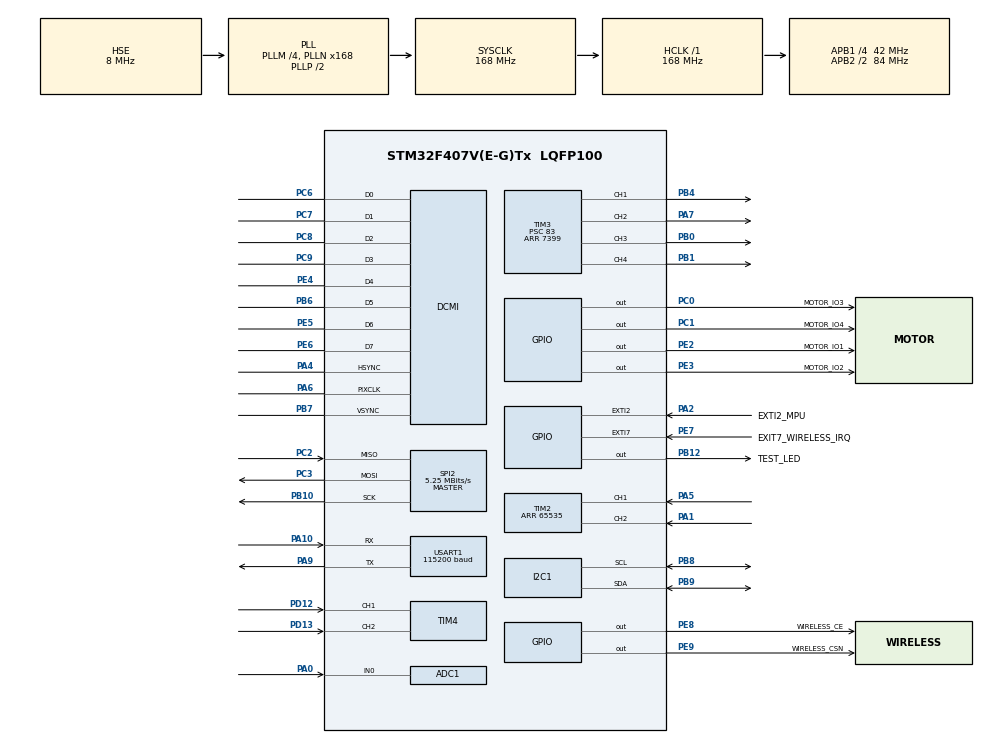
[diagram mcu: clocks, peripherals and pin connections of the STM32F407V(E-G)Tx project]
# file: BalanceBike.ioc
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ADC1.Channel-3\#ChannelRegularConversion=ADC_CHANNEL_0
ADC1.NbrOfConversionFlag=1
ADC1.Rank-3\#ChannelRegularConversion=1
ADC1.SamplingTime-3\#ChannelRegularConversion=ADC_SAMPLETIME_3CYCLES
ADC1.master=1
FREERTOS.Tasks01=defaultTask,24,128,StartDefaultTask,Default,NULL,Dynamic,NULL,NULL
FREERTOS.configENABLE_FPU=1
I2C1.I2C_Mode=I2C_Fast
Mcu.Family=STM32F4
Mcu.Name=STM32F407V(E-G)Tx
Mcu.Package=LQFP100
NVIC.EXTI2_IRQn=true\:5\:0\:false\:false\:true\:true\:true\:true\:true
NVIC.EXTI9_5_IRQn=true\:5\:0\:false\:false\:true\:true\:true\:true\:true
NVIC.PriorityGroup=NVIC_PRIORITYGROUP_4
NVIC.TIM1_UP_TIM10_IRQn=true\:15\:0\:false\:false\:true\:false\:false\:true\:true
NVIC.TIM2_IRQn=true\:5\:0\:false\:false\:true\:true\:true\:true\:true
NVIC.TIM4_IRQn=true\:5\:0\:false\:false\:true\:true\:true\:true\:true
NVIC.TimeBase=TIM1_UP_TIM10_IRQn
NVIC.TimeBaseIP=TIM1
PA0-WKUP.Signal=ADCx_IN0
PA1.Signal=S_TIM2_CH2
PA10.Mode=Asynchronous
PA10.Signal=USART1_RX
PA13.Mode=Serial_Wire
PA13.Signal=SYS_JTMS-SWDIO
PA14.Mode=Serial_Wire
PA14.Signal=SYS_JTCK-SWCLK
PA2.GPIO_Label=EXTI2_MPU
PA2.GPIO_ModeDefaultEXTI=GPIO_MODE_IT_FALLING
PA2.Signal=GPXTI2
PA4.Mode=Slave_8_bits_External_Synchro
PA4.Signal=DCMI_HSYNC
PA5.Signal=S_TIM2_CH1_ETR
PA6.Mode=Slave_8_bits_External_Synchro
PA6.Signal=DCMI_PIXCLK
PA7.Signal=S_TIM3_CH2
PA9.Mode=Asynchronous
PA9.Signal=USART1_TX
PB0.Signal=S_TIM3_CH3
PB1.Signal=S_TIM3_CH4
PB10.Mode=Full_Duplex_Master
PB10.Signal=SPI2_SCK
PB12.GPIO_Label=TEST_LED
PB12.Signal=GPIO_Output
PB4.Signal=S_TIM3_CH1
PB6.Mode=Slave_8_bits_External_Synchro
PB6.Signal=DCMI_D5
PB7.Mode=Slave_8_bits_External_Synchro
PB7.Signal=DCMI_VSYNC
PB8.Mode=I2C
PB8.Signal=I2C1_SCL
PB9.Mode=I2C
PB9.Signal=I2C1_SDA
PC0.GPIO_Label=MOTOR_IO3
PC0.GPIO_Speed=GPIO_SPEED_FREQ_LOW
PC0.Signal=GPIO_Output
PC1.GPIO_Label=MOTOR_IO4
PC1.GPIO_Speed=GPIO_SPEED_FREQ_LOW
PC1.Signal=GPIO_Output
PC2.Mode=Full_Duplex_Master
PC2.Signal=SPI2_MISO
PC3.Mode=Full_Duplex_Master
PC3.Signal=SPI2_MOSI
PC6.Mode=Slave_8_bits_External_Synchro
PC6.Signal=DCMI_D0
PC7.Mode=Slave_8_bits_External_Synchro
PC7.Signal=DCMI_D1
PC8.Mode=Slave_8_bits_External_Synchro
PC8.Signal=DCMI_D2
PC9.Mode=Slave_8_bits_External_Synchro
PC9.Signal=DCMI_D3
PD12.Signal=S_TIM4_CH1
PD13.Signal=S_TIM4_CH2
PE2.GPIO_Label=MOTOR_IO1
PE2.GPIO_Speed=GPIO_SPEED_FREQ_LOW
PE2.Signal=GPIO_Output
PE3.GPIO_Label=MOTOR_IO2
PE3.GPIO_Speed=GPIO_SPEED_FREQ_LOW
PE3.Signal=GPIO_Output
PE4.Mode=Slave_8_bits_External_Synchro
PE4.Signal=DCMI_D4
PE5.Mode=Slave_8_bits_External_Synchro
PE5.Signal=DCMI_D6
PE6.Mode=Slave_8_bits_External_Synchro
PE6.Signal=DCMI_D7
PE7.GPIO_Label=EXIT7_WIRELESS_IRQ
PE7.GPIO_ModeDefaultEXTI=GPIO_MODE_IT_FALLING
PE7.Signal=GPXTI7
PE8.GPIO_Label=WIRELESS_CE
PE8.GPIO_Speed=GPIO_SPEED_FREQ_HIGH
PE8.Signal=GPIO_Output
PE9.GPIO_Label=WIRELESS_CSN
PE9.GPIO_Speed=GPIO_SPEED_FREQ_HIGH
PE9.PinState=GPIO_PIN_SET
PE9.Signal=GPIO_Output
PH0-OSC_IN.Mode=HSE-External-Oscillator
PH0-OSC_IN.Signal=RCC_OSC_IN
PH1-OSC_OUT.Mode=HSE-External-Oscillator
PH1-OSC_OUT.Signal=RCC_OSC_OUT
ProjectManager.HeapSize=0x200
ProjectManager.StackSize=0x400
ProjectManager.TargetToolchain=Makefile
RCC.48MHZClocksFreq_Value=84000000
RCC.AHBFreq_Value=168000000
RCC.APB1CLKDivider=RCC_HCLK_DIV4
RCC.APB1Freq_Value=42000000
RCC.APB1TimFreq_Value=84000000
RCC.APB2CLKDivider=RCC_HCLK_DIV2
RCC.APB2Freq_Value=84000000
RCC.APB2TimFreq_Value=168000000
RCC.CortexFreq_Value=168000000
RCC.HCLKFreq_Value=168000000
RCC.HSE_VALUE=8000000
RCC.HSI_VALUE=16000000
RCC.LSE_VALUE=32768
RCC.PLLM=4
RCC.PLLN=168
RCC.PLLSourceVirtual=RCC_PLLSOURCE_HSE
RCC.SYSCLKFreq_VALUE=168000000
RCC.SYSCLKSource=RCC_SYSCLKSOURCE_PLLCLK
RCC.VCOOutputFreq_Value=336000000
SH.ADCx_IN0.0=ADC1_IN0,IN0
SH.S_TIM2_CH1_ETR.0=TIM2_CH1,Encoder_Interface
SH.S_TIM2_CH2.0=TIM2_CH2,Encoder_Interface
SH.S_TIM3_CH1.0=TIM3_CH1,PWM Generation1 CH1
SH.S_TIM3_CH2.0=TIM3_CH2,PWM Generation2 CH2
SH.S_TIM3_CH3.0=TIM3_CH3,PWM Generation3 CH3
SH.S_TIM3_CH4.0=TIM3_CH4,PWM Generation4 CH4
SH.S_TIM4_CH1.0=TIM4_CH1,Encoder_Interface
SH.S_TIM4_CH2.0=TIM4_CH2,Encoder_Interface
SPI2.BaudRatePrescaler=SPI_BAUDRATEPRESCALER_8
SPI2.CalculateBaudRate=5.25 MBits/s
SPI2.Direction=SPI_DIRECTION_2LINES
SPI2.Mode=SPI_MODE_MASTER
SPI2.VirtualType=VM_MASTER
TIM2.EncoderMode=TIM_ENCODERMODE_TI12
TIM2.IC1Filter=6
TIM2.Period=65535
TIM3.AutoReloadPreload=TIM_AUTORELOAD_PRELOAD_ENABLE
TIM3.Channel-PWM\ Generation1\ CH1=TIM_CHANNEL_1
TIM3.Channel-PWM\ Generation2\ CH2=TIM_CHANNEL_2
TIM3.Channel-PWM\ Generation3\ CH3=TIM_CHANNEL_3
TIM3.Channel-PWM\ Generation4\ CH4=TIM_CHANNEL_4
TIM3.Period=7399
TIM3.Prescaler=83
TIM4.EncoderMode=TIM_ENCODERMODE_TI12
TIM4.IC1Filter=6
USART1.BaudRate=115200
USART1.VirtualMode=VM_ASYNC
VP_FREERTOS_VS_CMSIS_V2.Mode=CMSIS_V2
VP_SYS_VS_tim1.Mode=TIM1
board=custom

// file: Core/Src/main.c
/* USER CODE BEGIN Header */
/**
  ******************************************************************************
  * @file           : main.c
  * @brief          : Main program body
  ******************************************************************************
  * @attention
  *
  * Copyright (c) 2025 STMicroelectronics.
  * All rights reserved.
  *
  * This software is licensed under terms that can be found in the LICENSE file
  * in the root directory of this software component.
  * If no LICENSE file comes with this software, it is provided AS-IS.
  *
  ******************************************************************************
  */
/* USER CODE END Header */
#include "main.h"
#include "cmsis_os.h"

/* USER CODE BEGIN Includes */
#include "tasks.h"
#include "nrf24l01p.h"
/* USER CODE END Includes */

ADC_HandleTypeDef hadc1;

DCMI_HandleTypeDef hdcmi;

I2C_HandleTypeDef hi2c1;

SPI_HandleTypeDef hspi2;

TIM_HandleTypeDef htim2;
TIM_HandleTypeDef htim3;
TIM_HandleTypeDef htim4;

UART_HandleTypeDef huart1;

/* Definitions for defaultTask */
osThreadId_t defaultTaskHandle;
const osThreadAttr_t defaultTask_attributes = {
  .name = "defaultTask",
  .stack_size = 128 * 4,
  .priority = (osPriority_t) osPriorityNormal,
};
/* USER CODE BEGIN PV */
osThreadId_t test_led_task_handle;
const osThreadAttr_t test_led_task_attributes = {
  .name = "test_led",
  .stack_size = 128 * 4,
  .priority = (osPriority_t)osPriorityBelowNormal
};

osThreadId_t oled_task_handle;
const osThreadAttr_t oled_task_attributes = {
  .name = "oled",
  .stack_size = 128 * 8,
  .priority = (osPriority_t)osPriorityBelowNormal1
};

osThreadId_t balance_task_handle;
const osThreadAttr_t balance_task_attributes = {
  .name = "balance",
  .stack_size = 128 * 8,
  .priority = (osPriority_t)osPriorityNormal1
};

osThreadId_t control_task_handle;
const osThreadAttr_t control_task_attributes = {
    .name = "control",
    .stack_size = 128 * 16,
    .priority = (osPriority_t)osPriorityNormal
};

osSemaphoreId_t gyro_ready_sem;
osMutexId_t i2c_bus_mutex;
osEventFlagsId_t event;
osMessageQueueId_t command_queue;
/* USER CODE END PV */

void SystemClock_Config(void);
static void MX_GPIO_Init(void);
static void MX_DCMI_Init(void);
static void MX_I2C1_Init(void);
static void MX_SPI2_Init(void);
static void MX_TIM2_Init(void);
static void MX_TIM3_Init(void);
static void MX_TIM4_Init(void);
static void MX_USART1_UART_Init(void);
static void MX_ADC1_Init(void);
void StartDefaultTask(void *argument);

int main(void)
{

  /* MCU Configuration--------------------------------------------------------*/

  /* Reset of all peripherals, Initializes the Flash interface and the Systick. */
  HAL_Init();

  /* Configure the system clock */
  SystemClock_Config();

  /* Initialize all configured peripherals */
  MX_GPIO_Init();
  MX_DCMI_Init();
  MX_I2C1_Init();
  MX_SPI2_Init();
  MX_TIM2_Init();
  MX_TIM3_Init();
  MX_TIM4_Init();
  MX_USART1_UART_Init();
  MX_ADC1_Init();

  /* Init scheduler */
  osKernelInitialize();

  /* USER CODE BEGIN RTOS_MUTEX */
  /* add mutexes, ... */
  i2c_bus_mutex = osMutexNew(NULL);
  /* USER CODE END RTOS_MUTEX */

  /* USER CODE BEGIN RTOS_SEMAPHORES */
  /* add semaphores, ... */
  gyro_ready_sem = osSemaphoreNew(1,0,NULL);
  /* USER CODE END RTOS_SEMAPHORES */

  /* USER CODE BEGIN RTOS_QUEUES */
  /* add queues, ... */
  command_queue = osMessageQueueNew(16,sizeof(NRF24L01P_Fragment),NULL);
  /* USER CODE END RTOS_QUEUES */

  /* Create the thread(s) */
  /* creation of defaultTask */
  defaultTaskHandle = osThreadNew(StartDefaultTask, NULL, &defaultTask_attributes);

  /* USER CODE BEGIN RTOS_THREADS */
  /* add threads, ... */
  test_led_task_handle = osThreadNew(test_led_task,NULL,&test_led_task_attributes);
  oled_task_handle = osThreadNew(oled_task,NULL,&oled_task_attributes);
  balance_task_handle = osThreadNew(balance_task,NULL,&balance_task_attributes);
  control_task_handle = osThreadNew(control_task,NULL,&control_task_attributes);
  /* USER CODE END RTOS_THREADS */

  /* USER CODE BEGIN RTOS_EVENTS */
  /* add events, ... */
  event = osEventFlagsNew(NULL);
  /* USER CODE END RTOS_EVENTS */

  /* Start scheduler */
  osKernelStart();

  /* We should never get here as control is now taken by the scheduler */

  /* Infinite loop */
  while (1)
  {

  }
}

void SystemClock_Config(void)
{
  RCC_OscInitTypeDef RCC_OscInitStruct = {0};
  RCC_ClkInitTypeDef RCC_ClkInitStruct = {0};

  /** Configure the main internal regulator output voltage
  */
  __HAL_RCC_PWR_CLK_ENABLE();
  __HAL_PWR_VOLTAGESCALING_CONFIG(PWR_REGULATOR_VOLTAGE_SCALE1);

  /** Initializes the RCC Oscillators according to the specified parameters
  * in the RCC_OscInitTypeDef structure.
  */
  RCC_OscInitStruct.OscillatorType = RCC_OSCILLATORTYPE_HSE;
  RCC_OscInitStruct.HSEState = RCC_HSE_ON;
  RCC_OscInitStruct.PLL.PLLState = RCC_PLL_ON;
  RCC_OscInitStruct.PLL.PLLSource = RCC_PLLSOURCE_HSE;
  RCC_OscInitStruct.PLL.PLLM = 4;
  RCC_OscInitStruct.PLL.PLLN = 168;
  RCC_OscInitStruct.PLL.PLLP = RCC_PLLP_DIV2;
  RCC_OscInitStruct.PLL.PLLQ = 4;
  if (HAL_RCC_OscConfig(&RCC_OscInitStruct) != HAL_OK)
  {
    Error_Handler();
  }

  /** Initializes the CPU, AHB and APB buses clocks
  */
  RCC_ClkInitStruct.ClockType = RCC_CLOCKTYPE_HCLK|RCC_CLOCKTYPE_SYSCLK
                              |RCC_CLOCKTYPE_PCLK1|RCC_CLOCKTYPE_PCLK2;
  RCC_ClkInitStruct.SYSCLKSource = RCC_SYSCLKSOURCE_PLLCLK;
  RCC_ClkInitStruct.AHBCLKDivider = RCC_SYSCLK_DIV1;
  RCC_ClkInitStruct.APB1CLKDivider = RCC_HCLK_DIV4;
  RCC_ClkInitStruct.APB2CLKDivider = RCC_HCLK_DIV2;

  if (HAL_RCC_ClockConfig(&RCC_ClkInitStruct, FLASH_LATENCY_5) != HAL_OK)
  {
    Error_Handler();
  }
}

static void MX_ADC1_Init(void)
{

  ADC_ChannelConfTypeDef sConfig = {0};

  /** Configure the global features of the ADC (Clock, Resolution, Data Alignment and number of conversion)
  */
  hadc1.Instance = ADC1;
  hadc1.Init.ClockPrescaler = ADC_CLOCK_SYNC_PCLK_DIV4;
  hadc1.Init.Resolution = ADC_RESOLUTION_12B;
  hadc1.Init.ScanConvMode = DISABLE;
  hadc1.Init.ContinuousConvMode = DISABLE;
  hadc1.Init.DiscontinuousConvMode = DISABLE;
  hadc1.Init.ExternalTrigConvEdge = ADC_EXTERNALTRIGCONVEDGE_NONE;
  hadc1.Init.ExternalTrigConv = ADC_SOFTWARE_START;
  hadc1.Init.DataAlign = ADC_DATAALIGN_RIGHT;
  hadc1.Init.NbrOfConversion = 1;
  hadc1.Init.DMAContinuousRequests = DISABLE;
  hadc1.Init.EOCSelection = ADC_EOC_SINGLE_CONV;
  if (HAL_ADC_Init(&hadc1) != HAL_OK)
  {
    Error_Handler();
  }

  /** Configure for the selected ADC regular channel its corresponding rank in the sequencer and its sample time.
  */
  sConfig.Channel = ADC_CHANNEL_0;
  sConfig.Rank = 1;
  sConfig.SamplingTime = ADC_SAMPLETIME_3CYCLES;
  if (HAL_ADC_ConfigChannel(&hadc1, &sConfig) != HAL_OK)
  {
    Error_Handler();
  }

}

static void MX_DCMI_Init(void)
{

  hdcmi.Instance = DCMI;
  hdcmi.Init.SynchroMode = DCMI_SYNCHRO_HARDWARE;
  hdcmi.Init.PCKPolarity = DCMI_PCKPOLARITY_FALLING;
  hdcmi.Init.VSPolarity = DCMI_VSPOLARITY_LOW;
  hdcmi.Init.HSPolarity = DCMI_HSPOLARITY_LOW;
  hdcmi.Init.CaptureRate = DCMI_CR_ALL_FRAME;
  hdcmi.Init.ExtendedDataMode = DCMI_EXTEND_DATA_8B;
  hdcmi.Init.JPEGMode = DCMI_JPEG_DISABLE;
  if (HAL_DCMI_Init(&hdcmi) != HAL_OK)
  {
    Error_Handler();
  }

}

static void MX_I2C1_Init(void)
{

  hi2c1.Instance = I2C1;
  hi2c1.Init.ClockSpeed = 400000;
  hi2c1.Init.DutyCycle = I2C_DUTYCYCLE_2;
  hi2c1.Init.OwnAddress1 = 0;
  hi2c1.Init.AddressingMode = I2C_ADDRESSINGMODE_7BIT;
  hi2c1.Init.DualAddressMode = I2C_DUALADDRESS_DISABLE;
  hi2c1.Init.OwnAddress2 = 0;
  hi2c1.Init.GeneralCallMode = I2C_GENERALCALL_DISABLE;
  hi2c1.Init.NoStretchMode = I2C_NOSTRETCH_DISABLE;
  if (HAL_I2C_Init(&hi2c1) != HAL_OK)
  {
    Error_Handler();
  }

}

static void MX_SPI2_Init(void)
{

  /* SPI2 parameter configuration*/
  hspi2.Instance = SPI2;
  hspi2.Init.Mode = SPI_MODE_MASTER;
  hspi2.Init.Direction = SPI_DIRECTION_2LINES;
  hspi2.Init.DataSize = SPI_DATASIZE_8BIT;
  hspi2.Init.CLKPolarity = SPI_POLARITY_LOW;
  hspi2.Init.CLKPhase = SPI_PHASE_1EDGE;
  hspi2.Init.NSS = SPI_NSS_SOFT;
  hspi2.Init.BaudRatePrescaler = SPI_BAUDRATEPRESCALER_8;
  hspi2.Init.FirstBit = SPI_FIRSTBIT_MSB;
  hspi2.Init.TIMode = SPI_TIMODE_DISABLE;
  hspi2.Init.CRCCalculation = SPI_CRCCALCULATION_DISABLE;
  hspi2.Init.CRCPolynomial = 10;
  if (HAL_SPI_Init(&hspi2) != HAL_OK)
  {
    Error_Handler();
  }

}

static void MX_TIM2_Init(void)
{

  TIM_Encoder_InitTypeDef sConfig = {0};
  TIM_MasterConfigTypeDef sMasterConfig = {0};

  htim2.Instance = TIM2;
  htim2.Init.Prescaler = 0;
  htim2.Init.CounterMode = TIM_COUNTERMODE_UP;
  htim2.Init.Period = 65535;
  htim2.Init.ClockDivision = TIM_CLOCKDIVISION_DIV1;
  htim2.Init.AutoReloadPreload = TIM_AUTORELOAD_PRELOAD_DISABLE;
  sConfig.EncoderMode = TIM_ENCODERMODE_TI12;
  sConfig.IC1Polarity = TIM_ICPOLARITY_RISING;
  sConfig.IC1Selection = TIM_ICSELECTION_DIRECTTI;
  sConfig.IC1Prescaler = TIM_ICPSC_DIV1;
  sConfig.IC1Filter = 6;
  sConfig.IC2Polarity = TIM_ICPOLARITY_RISING;
  sConfig.IC2Selection = TIM_ICSELECTION_DIRECTTI;
  sConfig.IC2Prescaler = TIM_ICPSC_DIV1;
  sConfig.IC2Filter = 0;
  if (HAL_TIM_Encoder_Init(&htim2, &sConfig) != HAL_OK)
  {
    Error_Handler();
  }
  sMasterConfig.MasterOutputTrigger = TIM_TRGO_RESET;
  sMasterConfig.MasterSlaveMode = TIM_MASTERSLAVEMODE_DISABLE;
  if (HAL_TIMEx_MasterConfigSynchronization(&htim2, &sMasterConfig) != HAL_OK)
  {
    Error_Handler();
  }

}

static void MX_TIM3_Init(void)
{

  TIM_MasterConfigTypeDef sMasterConfig = {0};
  TIM_OC_InitTypeDef sConfigOC = {0};

  htim3.Instance = TIM3;
  htim3.Init.Prescaler = 83;
  htim3.Init.CounterMode = TIM_COUNTERMODE_UP;
  htim3.Init.Period = 7399;
  htim3.Init.ClockDivision = TIM_CLOCKDIVISION_DIV1;
  htim3.Init.AutoReloadPreload = TIM_AUTORELOAD_PRELOAD_ENABLE;
  if (HAL_TIM_PWM_Init(&htim3) != HAL_OK)
  {
    Error_Handler();
  }
  sMasterConfig.MasterOutputTrigger = TIM_TRGO_RESET;
  sMasterConfig.MasterSlaveMode = TIM_MASTERSLAVEMODE_DISABLE;
  if (HAL_TIMEx_MasterConfigSynchronization(&htim3, &sMasterConfig) != HAL_OK)
  {
    Error_Handler();
  }
  sConfigOC.OCMode = TIM_OCMODE_PWM1;
  sConfigOC.Pulse = 0;
  sConfigOC.OCPolarity = TIM_OCPOLARITY_HIGH;
  sConfigOC.OCFastMode = TIM_OCFAST_DISABLE;
  if (HAL_TIM_PWM_ConfigChannel(&htim3, &sConfigOC, TIM_CHANNEL_1) != HAL_OK)
  {
    Error_Handler();
  }
  if (HAL_TIM_PWM_ConfigChannel(&htim3, &sConfigOC, TIM_CHANNEL_2) != HAL_OK)
  {
    Error_Handler();
  }
  if (HAL_TIM_PWM_ConfigChannel(&htim3, &sConfigOC, TIM_CHANNEL_3) != HAL_OK)
  {
    Error_Handler();
  }
  if (HAL_TIM_PWM_ConfigChannel(&htim3, &sConfigOC, TIM_CHANNEL_4) != HAL_OK)
  {
    Error_Handler();
  }
  HAL_TIM_MspPostInit(&htim3);

}

static void MX_TIM4_Init(void)
{

  TIM_Encoder_InitTypeDef sConfig = {0};
  TIM_MasterConfigTypeDef sMasterConfig = {0};

  htim4.Instance = TIM4;
  htim4.Init.Prescaler = 0;
  htim4.Init.CounterMode = TIM_COUNTERMODE_UP;
  htim4.Init.Period = 65535;
  htim4.Init.ClockDivision = TIM_CLOCKDIVISION_DIV1;
  htim4.Init.AutoReloadPreload = TIM_AUTORELOAD_PRELOAD_DISABLE;
  sConfig.EncoderMode = TIM_ENCODERMODE_TI12;
  sConfig.IC1Polarity = TIM_ICPOLARITY_RISING;
  sConfig.IC1Selection = TIM_ICSELECTION_DIRECTTI;
  sConfig.IC1Prescaler = TIM_ICPSC_DIV1;
  sConfig.IC1Filter = 6;
  sConfig.IC2Polarity = TIM_ICPOLARITY_RISING;
  sConfig.IC2Selection = TIM_ICSELECTION_DIRECTTI;
  sConfig.IC2Prescaler = TIM_ICPSC_DIV1;
  sConfig.IC2Filter = 0;
  if (HAL_TIM_Encoder_Init(&htim4, &sConfig) != HAL_OK)
  {
    Error_Handler();
  }
  sMasterConfig.MasterOutputTrigger = TIM_TRGO_RESET;
  sMasterConfig.MasterSlaveMode = TIM_MASTERSLAVEMODE_DISABLE;
  if (HAL_TIMEx_MasterConfigSynchronization(&htim4, &sMasterConfig) != HAL_OK)
  {
    Error_Handler();
  }

}

static void MX_USART1_UART_Init(void)
{

  huart1.Instance = USART1;
  huart1.Init.BaudRate = 115200;
  huart1.Init.WordLength = UART_WORDLENGTH_8B;
  huart1.Init.StopBits = UART_STOPBITS_1;
  huart1.Init.Parity = UART_PARITY_NONE;
  huart1.Init.Mode = UART_MODE_TX_RX;
  huart1.Init.HwFlowCtl = UART_HWCONTROL_NONE;
  huart1.Init.OverSampling = UART_OVERSAMPLING_16;
  if (HAL_UART_Init(&huart1) != HAL_OK)
  {
    Error_Handler();
  }

}

static void MX_GPIO_Init(void)
{
  GPIO_InitTypeDef GPIO_InitStruct = {0};

  /* GPIO Ports Clock Enable */
  __HAL_RCC_GPIOE_CLK_ENABLE();
  __HAL_RCC_GPIOH_CLK_ENABLE();
  __HAL_RCC_GPIOC_CLK_ENABLE();
  __HAL_RCC_GPIOA_CLK_ENABLE();
  __HAL_RCC_GPIOB_CLK_ENABLE();
  __HAL_RCC_GPIOD_CLK_ENABLE();

  /*Configure GPIO pin Output Level */
  HAL_GPIO_WritePin(GPIOE, MOTOR_IO1_Pin|MOTOR_IO2_Pin|WIRELESS_CE_Pin, GPIO_PIN_RESET);

  /*Configure GPIO pin Output Level */
  HAL_GPIO_WritePin(GPIOC, MOTOR_IO3_Pin|MOTOR_IO4_Pin, GPIO_PIN_RESET);

  /*Configure GPIO pin Output Level */
  HAL_GPIO_WritePin(WIRELESS_CSN_GPIO_Port, WIRELESS_CSN_Pin, GPIO_PIN_SET);

  /*Configure GPIO pin Output Level */
  HAL_GPIO_WritePin(TEST_LED_GPIO_Port, TEST_LED_Pin, GPIO_PIN_RESET);

  /*Configure GPIO pins : MOTOR_IO1_Pin MOTOR_IO2_Pin */
  GPIO_InitStruct.Pin = MOTOR_IO1_Pin|MOTOR_IO2_Pin;
  GPIO_InitStruct.Mode = GPIO_MODE_OUTPUT_PP;
  GPIO_InitStruct.Pull = GPIO_NOPULL;
  GPIO_InitStruct.Speed = GPIO_SPEED_FREQ_LOW;
  HAL_GPIO_Init(GPIOE, &GPIO_InitStruct);

  /*Configure GPIO pins : MOTOR_IO3_Pin MOTOR_IO4_Pin */
  GPIO_InitStruct.Pin = MOTOR_IO3_Pin|MOTOR_IO4_Pin;
  GPIO_InitStruct.Mode = GPIO_MODE_OUTPUT_PP;
  GPIO_InitStruct.Pull = GPIO_NOPULL;
  GPIO_InitStruct.Speed = GPIO_SPEED_FREQ_LOW;
  HAL_GPIO_Init(GPIOC, &GPIO_InitStruct);

  /*Configure GPIO pin : EXTI2_MPU_Pin */
  GPIO_InitStruct.Pin = EXTI2_MPU_Pin;
  GPIO_InitStruct.Mode = GPIO_MODE_IT_FALLING;
  GPIO_InitStruct.Pull = GPIO_NOPULL;
  HAL_GPIO_Init(EXTI2_MPU_GPIO_Port, &GPIO_InitStruct);

  /*Configure GPIO pin : EXIT7_WIRELESS_IRQ_Pin */
  GPIO_InitStruct.Pin = EXIT7_WIRELESS_IRQ_Pin;
  GPIO_InitStruct.Mode = GPIO_MODE_IT_FALLING;
  GPIO_InitStruct.Pull = GPIO_NOPULL;
  HAL_GPIO_Init(EXIT7_WIRELESS_IRQ_GPIO_Port, &GPIO_InitStruct);

  /*Configure GPIO pins : WIRELESS_CE_Pin WIRELESS_CSN_Pin */
  GPIO_InitStruct.Pin = WIRELESS_CE_Pin|WIRELESS_CSN_Pin;
  GPIO_InitStruct.Mode = GPIO_MODE_OUTPUT_PP;
  GPIO_InitStruct.Pull = GPIO_NOPULL;
  GPIO_InitStruct.Speed = GPIO_SPEED_FREQ_HIGH;
  HAL_GPIO_Init(GPIOE, &GPIO_InitStruct);

  /*Configure GPIO pin : TEST_LED_Pin */
  GPIO_InitStruct.Pin = TEST_LED_Pin;
  GPIO_InitStruct.Mode = GPIO_MODE_OUTPUT_PP;
  GPIO_InitStruct.Pull = GPIO_NOPULL;
  GPIO_InitStruct.Speed = GPIO_SPEED_FREQ_LOW;
  HAL_GPIO_Init(TEST_LED_GPIO_Port, &GPIO_InitStruct);

  /* EXTI interrupt init*/
  HAL_NVIC_SetPriority(EXTI2_IRQn, 5, 0);
  HAL_NVIC_EnableIRQ(EXTI2_IRQn);

  HAL_NVIC_SetPriority(EXTI9_5_IRQn, 5, 0);
  HAL_NVIC_EnableIRQ(EXTI9_5_IRQn);

}

void StartDefaultTask(void *argument)
{
  for(;;)
  {
    osDelay(1);
  }
}

void HAL_TIM_PeriodElapsedCallback(TIM_HandleTypeDef *htim)
{
  if (htim->Instance == TIM1)
  {
    HAL_IncTick();
  }
}

void Error_Handler(void)
{
  __disable_irq();
  while (1)
  {
  }
}
